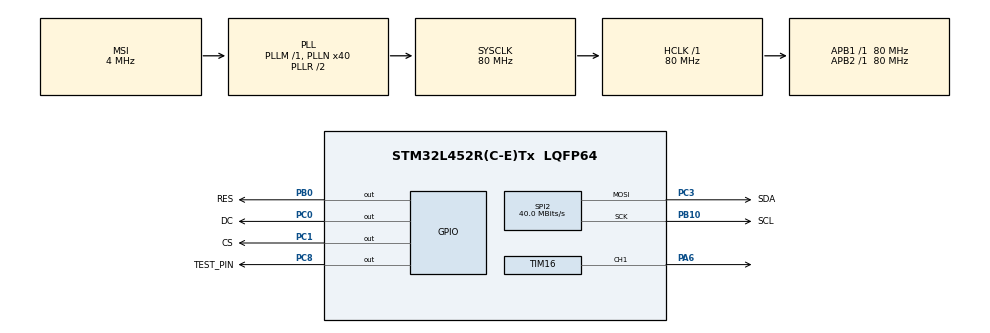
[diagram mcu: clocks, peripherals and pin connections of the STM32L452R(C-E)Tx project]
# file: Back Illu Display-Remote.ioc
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Mcu.Family=STM32L4
Mcu.Name=STM32L452R(C-E)Tx
Mcu.Package=LQFP64
NVIC.PriorityGroup=NVIC_PRIORITYGROUP_4
PA6.Signal=S_TIM16_CH1
PB0.GPIO_Label=RES
PB0.GPIO_Speed=GPIO_SPEED_FREQ_VERY_HIGH
PB0.Signal=GPIO_Output
PB10.GPIO_Label=SCL
PB10.Mode=TX_Only_Simplex_Unidirect_Master
PB10.Signal=SPI2_SCK
PC0.GPIO_Label=DC
PC0.GPIO_Speed=GPIO_SPEED_FREQ_VERY_HIGH
PC0.Signal=GPIO_Output
PC1.GPIO_Label=CS
PC1.GPIO_Speed=GPIO_SPEED_FREQ_VERY_HIGH
PC1.Signal=GPIO_Output
PC3.GPIO_Label=SDA
PC3.Mode=TX_Only_Simplex_Unidirect_Master
PC3.Signal=SPI2_MOSI
PC8.GPIO_Label=TEST_PIN
PC8.GPIO_Speed=GPIO_SPEED_FREQ_VERY_HIGH
PC8.Signal=GPIO_Output
ProjectManager.HeapSize=0x200
ProjectManager.StackSize=0x400
ProjectManager.TargetToolchain=STM32CubeIDE
RCC.AHBFreq_Value=80000000
RCC.APB1Freq_Value=80000000
RCC.APB1TimFreq_Value=80000000
RCC.APB2Freq_Value=80000000
RCC.APB2TimFreq_Value=80000000
RCC.CortexFreq_Value=80000000
RCC.HCLKFreq_Value=80000000
RCC.HSE_VALUE=8000000
RCC.HSI48_VALUE=48000000
RCC.HSI_VALUE=16000000
RCC.LSE_VALUE=32768
RCC.MSI_VALUE=4000000
RCC.PLLN=40
RCC.SYSCLKFreq_VALUE=80000000
RCC.SYSCLKSource=RCC_SYSCLKSOURCE_PLLCLK
RCC.VCOOutputFreq_Value=160000000
SH.S_TIM16_CH1.0=TIM16_CH1,PWM Generation1 CH1
SPI2.BaudRatePrescaler=SPI_BAUDRATEPRESCALER_2
SPI2.CalculateBaudRate=40.0 MBits/s
SPI2.DataSize=SPI_DATASIZE_8BIT
SPI2.Direction=SPI_DIRECTION_2LINES
SPI2.Mode=SPI_MODE_MASTER
SPI2.VirtualType=VM_MASTER
TIM16.Channel=TIM_CHANNEL_1
TIM16.Period=100
TIM16.Prescaler=80
VP_TIM16_VS_ClockSourceINT.Mode=Enable_Timer
board=custom

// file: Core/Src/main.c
/* USER CODE BEGIN Header */
/**
  ******************************************************************************
  * @file           : main.c
  * @brief          : Main program body
  ******************************************************************************
  * @attention
  *
  * Copyright (c) 2022 STMicroelectronics.
  * All rights reserved.
  *
  * This software is licensed under terms that can be found in the LICENSE file
  * in the root directory of this software component.
  * If no LICENSE file comes with this software, it is provided AS-IS.
  *
  ******************************************************************************
  */
/* USER CODE END Header */
#include "main.h"

/* USER CODE BEGIN Includes */
#include "gc9a01a.h"
#include "math.h"
#include <string.h>

/* USER CODE END Includes */

/* USER CODE BEGIN PM */
#define FRAME_SIZE (240 * 240)

/* USER CODE END PM */

SPI_HandleTypeDef hspi2;

TIM_HandleTypeDef htim16;

/* USER CODE BEGIN PV */
uint16_t pwm_value = 0;
static uint16_t frame_buf[FRAME_SIZE];

/* USER CODE END PV */

void SystemClock_Config(void);
static void MX_GPIO_Init(void);
static void MX_SPI2_Init(void);
static void MX_TIM16_Init(void);
/* USER CODE BEGIN PFP */
void setPWM(int8_t value);
void TestDisplayLoop(void);

/* USER CODE END PFP */

/* USER CODE BEGIN 0 */
uint16_t RGB565(uint8_t R, uint8_t G, uint8_t B){
	R 	/= 8;
	G 	/= 4;
	B 	/= 8;

	uint8_t hi = ((G & 0x07) << 5) | ((B & 0x1F));
	uint8_t lo = ((G & 0x38) >> 3) | ((R & 0x1F) << 3);

	return lo | (hi << 8);
}

void setPWM(int8_t value) {
	  TIM16->CCR1 = value;
}

void TestFillColor(uint8_t *color) {
	// First pixel: transmit command
    DC_OFF();
    CS_OFF();
    HAL_SPI_Transmit(&hspi2, MEM_WR, 1, 1);
    CS_ON();

	// First pixel: transmit color
    DC_ON();
    CS_OFF();
    HAL_SPI_Transmit(&hspi2, color, 3, 1);
    CS_ON();

    for (uint16_t i = 0; i < (240*240 - 1); i++) {
    	// Other pixels: transmit command
        DC_OFF();
        CS_OFF();
        HAL_SPI_Transmit(&hspi2, MEM_WR_CONT, 1, 1);
        CS_ON();

    	// Other pixels: transmit color
        DC_ON();
        CS_OFF();
        HAL_SPI_Transmit(&hspi2, color, 3, 1);
        CS_ON();

    }

}

/*
void TestDisplayLoop(void){
	  uint8_t color[3];
	      // Triangle
	      color[0] = 0xFF;
	      color[1] = 0xFF;
	      for (int x = 0; x < 240; x++) {
	          for (int y = 0; y < 240; y++) {
	              if (x < y) {
	                  color[2] = 0xFF;
	              } else {
	                  color[2] = 0x00;
	              }
	              if (x == 0 && y == 0) {
//	            	  GPIOC->BSRR = GPIO_BSRR_BS8;
	                  GC9A01_write(color, sizeof(color));
//	                  GPIOC->BSRR = GPIO_BSRR_BR8;
	              } else {
//	            	  GPIOC->BSRR = GPIO_BSRR_BS8;
	                  GC9A01_write_continue(color, sizeof(color));
//	                  GPIOC->BSRR = GPIO_BSRR_BR8;

	              }
	          }
	      }
//	      setPWM(1);
	      HAL_Delay(1000);
	      // setPWM(0);
	      // Rainbow
	      float frequency = 0.026;
	      for (int x = 0; x < 240; x++) {
	          color[0] = sin(frequency*x + 0) * 127 + 128;
	          color[1] = sin(frequency*x + 2) * 127 + 128;
	          color[2] = sin(frequency*x + 4) * 127 + 128;
	          for (int y = 0; y < 240; y++) {
	              if (x == 0 && y == 0) {
	                  GC9A01_write(color, sizeof(color));
	              } else {
	                  GC9A01_write_continue(color, sizeof(color));
	              }
	          }
	      }
	      // setPWM(1);
	      HAL_Delay(1000);
	      // setPWM(0);
	      // Checkerboard
	      for (int x = 0; x < 240; x++) {
	          for (int y = 0; y < 240; y++) {
	              if ((x / 10) % 2 ==  (y / 10) % 2) {
	                  color[0] = 0xFF;
	                  color[1] = 0xFF;
	                  color[2] = 0xFF;
	              } else {
	                  color[0] = 0x00;
	                  color[1] = 0x00;
	                  color[2] = 0x00;
	              }
	              if (x == 0 && y == 0) {
	                  GC9A01_write(color, sizeof(color));
	              } else {
	                  GC9A01_write_continue(color, sizeof(color));
	              }
	          }
	      }
	      // setPWM(1);
	      HAL_Delay(1000);
	      // setPWM(0);
	      // Swiss flag
	      color[0] = 0xFF;
	      for (int x = 0; x < 240; x++) {
	          for (int y = 0; y < 240; y++) {
	              if ((x >= 1*48 && x < 4*48 && y >= 2*48 && y < 3*48) ||
	                  (x >= 2*48 && x < 3*48 && y >= 1*48 && y < 4*48)) {
	                  color[1] = 0xFF;
	                  color[2] = 0xFF;
	              } else {
	                  color[1] = 0x00;
	                  color[2] = 0x00;
	              }
	              if (x == 0 && y == 0) {
	                  GC9A01_write(color, sizeof(color));
	              } else {
	                  GC9A01_write_continue(color, sizeof(color));
	              }
	          }
	      }
	      // setPWM(1);
	      GC9A01_write_command(0x20);
}
*/

uint8_t tougle_test_pin = 0;

void TIM15_IRQHandler(void){
//	if(tougle_test_pin){
//		TEST_ON();
//	} else {
//		TEST_OFF();
//	}
//	tougle_test_pin = !tougle_test_pin;
//
//	TIM15->SR &= ~TIM_SR_UIF;
}

void HAL_TIM_PeriodElapsedCallback(TIM_HandleTypeDef *htim){
	if (htim == &htim6) {
//		if(tougle_test_pin){
//			TEST_ON();
//		} else {
//			TEST_OFF();
//		}
//		tougle_test_pin = !tougle_test_pin;

	}
}

/* USER CODE END 0 */

int main(void)
{

  /* MCU Configuration--------------------------------------------------------*/

  /* Reset of all peripherals, Initializes the Flash interface and the Systick. */
  HAL_Init();

  /* Configure the system clock */
  SystemClock_Config();

  /* Initialize all configured peripherals */
  MX_GPIO_Init();
  MX_SPI2_Init();
  MX_TIM16_Init();
  /* USER CODE BEGIN 2 */

//  HAL_TIM_Base_Start(&htim6);
//  HAL_TIM_Base_Start_IT(&htim6);

  gc9a01_t gc9a01;
  gc9a01.spi = &hspi2;
  gc9a01.frame = frame_buf;
  gc9a01.frame_size = FRAME_SIZE;

  gc9a01.res_port = RES_GPIO_Port;
  gc9a01.res_pin = RES_Pin;
  gc9a01.dc_port = DC_GPIO_Port;
  gc9a01.dc_pin = DC_Pin;
  gc9a01.cs_port = CS_GPIO_Port;
  gc9a01.cs_pin = CS_Pin;

  GC9A01_init(&gc9a01);

  HAL_TIM_PWM_Start(&htim16, TIM_CHANNEL_1);
  setPWM(50);

//  uint8_t clr[3] = {0xFF, 0xFF, 0xFF};
//  TestFillColor(clr);
//
//  HAL_Delay(500);
//
//  uint8_t clr2[3] = {0xFF, 0xFF, 0xFF};
//  TestFillColor(clr2);

  int increment = 16;
  int fade_size = 0;
  uint16_t color[ (6+1) * (255 / increment)];

  for (int i = 0; i < 255; i += increment){
	  color[fade_size++] = RGB565(255, i, 0); 	// red -> yellow
  }

  for (int i = 255; i >= 0; i -= increment){
	  color[fade_size++] = RGB565(i, 255, 0); 	// yellow - > green
  }

  for (int i = 0; i < 255; i += increment){
	  color[fade_size++] = RGB565(0, 255, i); 	// green -> cyan
  }

  for (int i = 255; i >= 0; i -= increment){
	  color[fade_size++] = RGB565(0, i, 255); 	// cyan -> blue
  }

  for (int i = 0; i < 255; i += increment){
	  color[fade_size++] = RGB565(i, 0, 255); 	// blue -> purple
  }

  for (int i = 255; i >= 0; i -= increment){
	  color[fade_size++] = RGB565(255, 0, i); 	// purple -> red
  }

  /* USER CODE END 2 */

  /* Infinite loop */
  while (1)
  {

    /* USER CODE BEGIN 3 */

//	  color = RGB565(255, 0, 0);
//	  for (int j = 0; j < 240 * 240; j++) {
//		  frame_buf[j] = color; // red
//	  }
//	  GC9A01_spi_frame(&gc9a01);
//	  HAL_Delay(1000);
//
//
//
//	  color = RGB565(0, 255, 0);
//	  for (int j = 0; j < 240 * 240; j++) {
//		  frame_buf[j] = color; // green
//	  }
//	  GC9A01_spi_frame(&gc9a01);
//	  HAL_Delay(1000);
//
//
//
//	  color = RGB565(0, 0, 255);
//	  for (int j = 0; j < 240 * 240; j++) {
//		  frame_buf[j] = color; // blue
//	  }
//	  GC9A01_spi_frame(&gc9a01);
//	  HAL_Delay(1000);

	  for(int i = 0; i < fade_size; i++){
		  for (int j = 0; j < 240 * 240; j++) {
			  frame_buf[j] = color[i];
		  }
		  GC9A01_spi_frame(&gc9a01);
	  }

  }
  /* USER CODE END 3 */
}

void SystemClock_Config(void)
{
  RCC_OscInitTypeDef RCC_OscInitStruct = {0};
  RCC_ClkInitTypeDef RCC_ClkInitStruct = {0};

  /** Configure the main internal regulator output voltage
  */
  if (HAL_PWREx_ControlVoltageScaling(PWR_REGULATOR_VOLTAGE_SCALE1) != HAL_OK)
  {
    Error_Handler();
  }
  /** Initializes the RCC Oscillators according to the specified parameters
  * in the RCC_OscInitTypeDef structure.
  */
  RCC_OscInitStruct.OscillatorType = RCC_OSCILLATORTYPE_MSI;
  RCC_OscInitStruct.MSIState = RCC_MSI_ON;
  RCC_OscInitStruct.MSICalibrationValue = 0;
  RCC_OscInitStruct.MSIClockRange = RCC_MSIRANGE_6;
  RCC_OscInitStruct.PLL.PLLState = RCC_PLL_ON;
  RCC_OscInitStruct.PLL.PLLSource = RCC_PLLSOURCE_MSI;
  RCC_OscInitStruct.PLL.PLLM = 1;
  RCC_OscInitStruct.PLL.PLLN = 40;
  RCC_OscInitStruct.PLL.PLLP = RCC_PLLP_DIV7;
  RCC_OscInitStruct.PLL.PLLQ = RCC_PLLQ_DIV2;
  RCC_OscInitStruct.PLL.PLLR = RCC_PLLR_DIV2;
  if (HAL_RCC_OscConfig(&RCC_OscInitStruct) != HAL_OK)
  {
    Error_Handler();
  }
  /** Initializes the CPU, AHB and APB buses clocks
  */
  RCC_ClkInitStruct.ClockType = RCC_CLOCKTYPE_HCLK|RCC_CLOCKTYPE_SYSCLK
                              |RCC_CLOCKTYPE_PCLK1|RCC_CLOCKTYPE_PCLK2;
  RCC_ClkInitStruct.SYSCLKSource = RCC_SYSCLKSOURCE_PLLCLK;
  RCC_ClkInitStruct.AHBCLKDivider = RCC_SYSCLK_DIV1;
  RCC_ClkInitStruct.APB1CLKDivider = RCC_HCLK_DIV1;
  RCC_ClkInitStruct.APB2CLKDivider = RCC_HCLK_DIV1;

  if (HAL_RCC_ClockConfig(&RCC_ClkInitStruct, FLASH_LATENCY_4) != HAL_OK)
  {
    Error_Handler();
  }
}

static void MX_SPI2_Init(void)
{

  /* SPI2 parameter configuration*/
  hspi2.Instance = SPI2;
  hspi2.Init.Mode = SPI_MODE_MASTER;
  hspi2.Init.Direction = SPI_DIRECTION_2LINES;
  hspi2.Init.DataSize = SPI_DATASIZE_8BIT;
  hspi2.Init.CLKPolarity = SPI_POLARITY_LOW;
  hspi2.Init.CLKPhase = SPI_PHASE_1EDGE;
  hspi2.Init.NSS = SPI_NSS_SOFT;
  hspi2.Init.BaudRatePrescaler = SPI_BAUDRATEPRESCALER_2;
  hspi2.Init.FirstBit = SPI_FIRSTBIT_MSB;
  hspi2.Init.TIMode = SPI_TIMODE_DISABLE;
  hspi2.Init.CRCCalculation = SPI_CRCCALCULATION_DISABLE;
  hspi2.Init.CRCPolynomial = 7;
  hspi2.Init.CRCLength = SPI_CRC_LENGTH_DATASIZE;
  hspi2.Init.NSSPMode = SPI_NSS_PULSE_ENABLE;
  if (HAL_SPI_Init(&hspi2) != HAL_OK)
  {
    Error_Handler();
  }

}

static void MX_TIM16_Init(void)
{

  TIM_OC_InitTypeDef sConfigOC = {0};
  TIM_BreakDeadTimeConfigTypeDef sBreakDeadTimeConfig = {0};

  htim16.Instance = TIM16;
  htim16.Init.Prescaler = 80;
  htim16.Init.CounterMode = TIM_COUNTERMODE_UP;
  htim16.Init.Period = 100;
  htim16.Init.ClockDivision = TIM_CLOCKDIVISION_DIV1;
  htim16.Init.RepetitionCounter = 0;
  htim16.Init.AutoReloadPreload = TIM_AUTORELOAD_PRELOAD_DISABLE;
  if (HAL_TIM_Base_Init(&htim16) != HAL_OK)
  {
    Error_Handler();
  }
  if (HAL_TIM_PWM_Init(&htim16) != HAL_OK)
  {
    Error_Handler();
  }
  sConfigOC.OCMode = TIM_OCMODE_PWM1;
  sConfigOC.Pulse = 0;
  sConfigOC.OCPolarity = TIM_OCPOLARITY_HIGH;
  sConfigOC.OCNPolarity = TIM_OCNPOLARITY_HIGH;
  sConfigOC.OCFastMode = TIM_OCFAST_DISABLE;
  sConfigOC.OCIdleState = TIM_OCIDLESTATE_RESET;
  sConfigOC.OCNIdleState = TIM_OCNIDLESTATE_RESET;
  if (HAL_TIM_PWM_ConfigChannel(&htim16, &sConfigOC, TIM_CHANNEL_1) != HAL_OK)
  {
    Error_Handler();
  }
  sBreakDeadTimeConfig.OffStateRunMode = TIM_OSSR_DISABLE;
  sBreakDeadTimeConfig.OffStateIDLEMode = TIM_OSSI_DISABLE;
  sBreakDeadTimeConfig.LockLevel = TIM_LOCKLEVEL_OFF;
  sBreakDeadTimeConfig.DeadTime = 0;
  sBreakDeadTimeConfig.BreakState = TIM_BREAK_DISABLE;
  sBreakDeadTimeConfig.BreakPolarity = TIM_BREAKPOLARITY_HIGH;
  sBreakDeadTimeConfig.AutomaticOutput = TIM_AUTOMATICOUTPUT_DISABLE;
  if (HAL_TIMEx_ConfigBreakDeadTime(&htim16, &sBreakDeadTimeConfig) != HAL_OK)
  {
    Error_Handler();
  }
  HAL_TIM_MspPostInit(&htim16);

}

static void MX_GPIO_Init(void)
{
  GPIO_InitTypeDef GPIO_InitStruct = {0};

  /* GPIO Ports Clock Enable */
  __HAL_RCC_GPIOC_CLK_ENABLE();
  __HAL_RCC_GPIOA_CLK_ENABLE();
  __HAL_RCC_GPIOB_CLK_ENABLE();

  /*Configure GPIO pin Output Level */
  HAL_GPIO_WritePin(GPIOC, DC_Pin|CS_Pin|TEST_PIN_Pin, GPIO_PIN_RESET);

  /*Configure GPIO pin Output Level */
  HAL_GPIO_WritePin(RES_GPIO_Port, RES_Pin, GPIO_PIN_RESET);

  /*Configure GPIO pins : DC_Pin CS_Pin TEST_PIN_Pin */
  GPIO_InitStruct.Pin = DC_Pin|CS_Pin|TEST_PIN_Pin;
  GPIO_InitStruct.Mode = GPIO_MODE_OUTPUT_PP;
  GPIO_InitStruct.Pull = GPIO_NOPULL;
  GPIO_InitStruct.Speed = GPIO_SPEED_FREQ_VERY_HIGH;
  HAL_GPIO_Init(GPIOC, &GPIO_InitStruct);

  /*Configure GPIO pin : RES_Pin */
  GPIO_InitStruct.Pin = RES_Pin;
  GPIO_InitStruct.Mode = GPIO_MODE_OUTPUT_PP;
  GPIO_InitStruct.Pull = GPIO_NOPULL;
  GPIO_InitStruct.Speed = GPIO_SPEED_FREQ_VERY_HIGH;
  HAL_GPIO_Init(RES_GPIO_Port, &GPIO_InitStruct);

}

void Error_Handler(void)
{
  __disable_irq();
  while (1)
  {
  }
}
